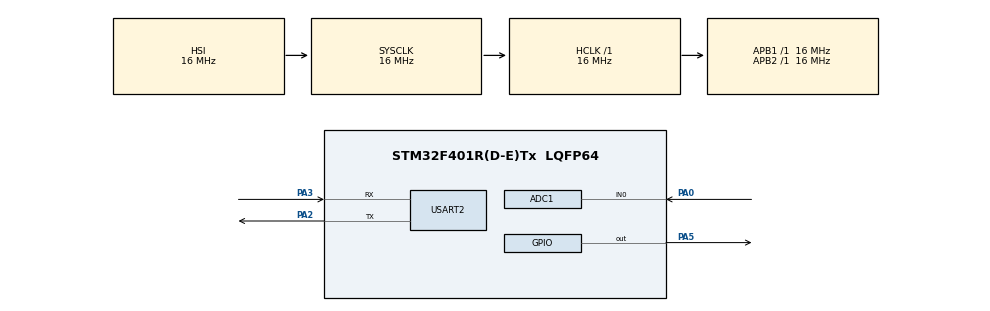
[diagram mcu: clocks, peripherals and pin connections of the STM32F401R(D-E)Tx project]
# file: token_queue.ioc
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ADC1.Channel-0\#ChannelRegularConversion=ADC_CHANNEL_0
ADC1.NbrOfConversionFlag=1
ADC1.Rank-0\#ChannelRegularConversion=1
ADC1.SamplingTime-0\#ChannelRegularConversion=ADC_SAMPLETIME_3CYCLES
ADC1.master=1
Dma.Request0=USART2_TX
Dma.USART2_TX.0.Direction=DMA_MEMORY_TO_PERIPH
Dma.USART2_TX.0.FIFOMode=DMA_FIFOMODE_DISABLE
Dma.USART2_TX.0.Instance=DMA1_Stream6
Dma.USART2_TX.0.MemDataAlignment=DMA_MDATAALIGN_BYTE
Dma.USART2_TX.0.MemInc=DMA_MINC_ENABLE
Dma.USART2_TX.0.Mode=DMA_NORMAL
Dma.USART2_TX.0.PeriphDataAlignment=DMA_PDATAALIGN_BYTE
Dma.USART2_TX.0.PeriphInc=DMA_PINC_DISABLE
Dma.USART2_TX.0.Priority=DMA_PRIORITY_MEDIUM
Mcu.Family=STM32F4
Mcu.Name=STM32F401R(D-E)Tx
Mcu.Package=LQFP64
NVIC.DMA1_Stream6_IRQn=true\:0\:0\:false\:false\:true\:false\:true\:true
NVIC.PriorityGroup=NVIC_PRIORITYGROUP_4
NVIC.TIM2_IRQn=true\:0\:0\:false\:false\:true\:true\:true\:true
NVIC.TIM3_IRQn=true\:0\:0\:false\:false\:true\:true\:true\:true
NVIC.USART2_IRQn=true\:0\:0\:false\:false\:true\:true\:true\:true
PA0-WKUP.Signal=ADCx_IN0
PA2.Mode=Asynchronous
PA2.Signal=USART2_TX
PA3.Mode=Asynchronous
PA3.Signal=USART2_RX
PA5.Signal=GPIO_Output
ProjectManager.HeapSize=0x200
ProjectManager.StackSize=0x400
ProjectManager.TargetToolchain=STM32CubeIDE
RCC.AHBFreq_Value=16000000
RCC.APB1Freq_Value=16000000
RCC.APB2Freq_Value=16000000
RCC.CortexFreq_Value=16000000
RCC.HSE_VALUE=25000000
RCC.HSI_VALUE=16000000
RCC.LSE_VALUE=32768
RCC.SYSCLKFreq_VALUE=16000000
RCC.VCOOutputFreq_Value=192000000
SH.ADCx_IN0.0=ADC1_IN0,IN0
TIM2.Period=999
TIM2.Prescaler=1599
TIM3.Period=9999
TIM3.Prescaler=1599
USART2.VirtualMode=VM_ASYNC
VP_RTC_VS_RTC_Activate.Mode=RTC_Enabled
VP_RTC_VS_RTC_Calendar.Mode=RTC_Calendar
VP_TIM2_VS_ClockSourceINT.Mode=Internal
VP_TIM3_VS_ClockSourceINT.Mode=Internal
board=custom

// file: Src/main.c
/* USER CODE BEGIN Header */
/**
  ******************************************************************************
  * @file           : main.c
  * @brief          : Main program body
  ******************************************************************************
  * @attention
  *
  * <h2><center>&copy; Copyright (c) 2025 STMicroelectronics.
  * All rights reserved.</center></h2>
  *
  * This software component is licensed by ST under BSD 3-Clause license,
  * the "License"; You may not use this file except in compliance with the
  * License. You may obtain a copy of the License at:
  *                        opensource.org/licenses/BSD-3-Clause
  *
  ******************************************************************************
  */
/* USER CODE END Header */

#include "main.h"

/* USER CODE BEGIN Includes */
#include <stdbool.h>
#include "stm32f4xx_hal.h"
#include <string.h>
#include <stdio.h>

/* USER CODE END Includes */

/* USER CODE BEGIN PTD */

//structure for the records communicated via UART
typedef struct {
    RTC_TimeTypeDef start_time;
    RTC_DateTypeDef start_date;
    RTC_TimeTypeDef end_time;
    RTC_DateTypeDef end_date;
    bool valid;
} ActivityLogEntry;

/* USER CODE END PTD */

/* USER CODE BEGIN PD */

#define TOKEN_DURATION 10 //number of TIM2 cycles a token lasts
#define MAX_TOKENS 5 //number of tokens (indicates the beginning of the activity)
#define LOG_DURATION 30 //number of TIM3 cycles before the log is sent via UART
#define LOG_SIZE 50 //number of entries in the log
#define TX_QUEUE_SIZE 50 //number of messages that can be queued for DMA communication
#define TX_BUF_SIZE 256 //length of a message

/* USER CODE END PD */

ADC_HandleTypeDef hadc1;

RTC_HandleTypeDef hrtc;

TIM_HandleTypeDef htim2;
TIM_HandleTypeDef htim3;

UART_HandleTypeDef huart2;
DMA_HandleTypeDef hdma_usart2_tx;

/* USER CODE BEGIN PV */
bool tokens[MAX_TOKENS] = {false}; //token queue
uint16_t token_time[MAX_TOKENS] = {0}; //vector that keeps track of each token's lifespan
uint8_t count = 0; //number of active tokens
bool activity = {false}; //control if the tokens vector is full and the activity is taking place

ActivityLogEntry activity_log[LOG_SIZE]; //activity log
int log_index = 0; //index of the next log entry
uint16_t log_timer = LOG_DURATION; //time since last log communication

bool adc_state = false; //current state of the input (on/off)
bool last_adc_state = false; //previous state of the input (on/off)
uint32_t adc_value = 0; //analog value of the input

//variables for DMA communications via UART
char tx_queue[TX_QUEUE_SIZE][TX_BUF_SIZE]; //message queue
volatile int tx_head = 0; //next message
volatile int tx_tail = 0; //current message
volatile bool tx_busy = false; //control to check if transmission is available
/* USER CODE END PV */

void SystemClock_Config(void);
static void MX_GPIO_Init(void);
static void MX_DMA_Init(void);
static void MX_TIM2_Init(void);
static void MX_RTC_Init(void);
static void MX_ADC1_Init(void);
static void MX_USART2_UART_Init(void);
static void MX_TIM3_Init(void);
/* USER CODE BEGIN PFP */

//function to send one message through UART using DMA
void SendLine_DMA(const char *msg)
{
    int next = (tx_head + 1) % TX_QUEUE_SIZE; //goes circularly through the queue
    //if the queue is full the message is discarded
    if (next == tx_tail)
    {
        return;
    }

    //message is inserted in the queue
    snprintf(tx_queue[tx_head], TX_BUF_SIZE, "%s", msg);
    tx_head = next;

    //if transmission is available send next message using DMA, otherwise wait for interrupt
    if (!tx_busy)
    {
        tx_busy = true;

        HAL_UART_Transmit_DMA(&huart2,
                              (uint8_t*)tx_queue[tx_tail],
                              strlen(tx_queue[tx_tail]));
    }

    return;
}

//function for token generation
void enqueue_token(void)
{
	//if the queue has room insert a token and update count
	if (count < MAX_TOKENS)
	{
		tokens[count] = true;
		count++;

		//if the queue is now full and activity isn't taking place start activity and create new log entry
		if (count == MAX_TOKENS && activity == false)
		{
			activity = true;

			HAL_RTC_GetTime(&hrtc, &activity_log[log_index].start_time, RTC_FORMAT_BIN);
			HAL_RTC_GetDate(&hrtc, &activity_log[log_index].start_date, RTC_FORMAT_BIN);

		}
	}

	//regardless of queue state every token lifespan is resetted to reflect activity duration
	for (int i = 0; i < MAX_TOKENS; i++)
		{
			if(tokens[i] == true)
				token_time[i] = TOKEN_DURATION;
		}
}

//function for ADC reading
uint32_t Read_ADC()
{
    HAL_ADC_Start(&hadc1);
    HAL_ADC_PollForConversion(&hadc1, HAL_MAX_DELAY);
    uint32_t value = HAL_ADC_GetValue(&hadc1);
    HAL_ADC_Stop(&hadc1);
    return value;
}

//the Real Time Clock in the STM32F401 board doesn't keep track of time if the board isn't powered
//so it needs to be initialized at the start of every execution
void SyncRTCFromPC(void)
{
	//request for time synchronization
	char msg[] = "time_sync \n";

	//since the communication is brief and the execution can't start before the RTC is initialized
	//blocking communication is used instead of non-blocking communication using DMA
	if (HAL_UART_Transmit(&huart2, (uint8_t*)msg, strlen(msg), 1000) != HAL_OK)
	{
	    Error_Handler();
	}

	//the received date and time is first saved in a buffer
	char buf[32];
	uint8_t idx = 0;
	char c;
	while(1)
	{
		HAL_UART_Receive(&huart2,(uint8_t*)&c,1,HAL_MAX_DELAY);
		if(c == '\n') break;
		buf[idx++] = c;
		if(idx >= sizeof(buf)-1) break;
	}
	buf[idx] = '\0';

	//after communication is complete the buffer is used to initialize the RTC
	int y,m,d,h,min,s;
    if(sscanf(buf,"%d %d %d %d %d %d",&y,&m,&d,&h,&min,&s) == 6)
    {
        RTC_TimeTypeDef sTime = {0};
        RTC_DateTypeDef sDate = {0};

        sTime.Hours = h;
        sTime.Minutes = min;
        sTime.Seconds = s;
        sTime.DayLightSaving = RTC_DAYLIGHTSAVING_NONE;
        sTime.StoreOperation = RTC_STOREOPERATION_RESET;
        HAL_RTC_SetTime(&hrtc, &sTime, RTC_FORMAT_BIN);

        sDate.Year = y % 100;
        sDate.Month = m;
        sDate.Date = d;
        sDate.WeekDay = RTC_WEEKDAY_TUESDAY;
        HAL_RTC_SetDate(&hrtc, &sDate, RTC_FORMAT_BIN);
    }
}

//function for log communication
void SendFullActivityLog(void)
{
	//request for log communication
	char msg[] = "log_start \n";

	//since the handshake protocol is brief blocking communication is used
	HAL_UART_Transmit(&huart2,(uint8_t*)msg,strlen(msg),HAL_MAX_DELAY);

    int idx = 0;
    char syncbuf[32] = {0};

    while(idx < sizeof(syncbuf) - 1)
    {
    	uint8_t c;
    	HAL_UART_Receive(&huart2, &c, 1, HAL_MAX_DELAY);
    	syncbuf[idx++] = c;
    	if (c == '\n') break;
    }

    syncbuf[idx] = '\0';

    //if an ACK isn't received the communication is aborted
    if (strncmp(syncbuf, "ready", 5) != 0)
    {
    	char msg[] = "log_abort \n";
    	HAL_UART_Transmit(&huart2,(uint8_t*)msg,strlen(msg),HAL_MAX_DELAY);

    	return;
    }

    char buf[128];

    //each log entry is formatted for for the txt doc format
    for(int i = 0; i < LOG_SIZE; i++)
    {
        if(activity_log[i].valid)
        {
            RTC_DateTypeDef sd = activity_log[i].start_date;
            RTC_TimeTypeDef st = activity_log[i].start_time;
            RTC_DateTypeDef ed = activity_log[i].end_date;
            RTC_TimeTypeDef et = activity_log[i].end_time;

            snprintf(buf, sizeof(buf),
                "%d) start: %02d-%02d-%04d %02d:%02d:%02d    end: %02d-%02d-%04d %02d:%02d:%02d\n",
				i + 1,
                sd.Date, sd.Month, 2000 + sd.Year,
                st.Hours, st.Minutes, st.Seconds,
                ed.Date, ed.Month, 2000 + ed.Year,
                et.Hours, et.Minutes, et.Seconds
            );

            //all the log entries are added to the message queue and sent using DMA
            SendLine_DMA(buf);
        }
    }

    //end of communication
    SendLine_DMA("log_end\n");
}

/* USER CODE END PFP */

int main(void)
{

  /* MCU Configuration--------------------------------------------------------*/

  /* Reset of all peripherals, Initializes the Flash interface and the Systick. */
  HAL_Init();

  /* Configure the system clock */
  SystemClock_Config();

  /* Initialize all configured peripherals */
  MX_GPIO_Init();
  MX_DMA_Init();
  MX_TIM2_Init();
  MX_RTC_Init();
  MX_ADC1_Init();
  MX_USART2_UART_Init();
  MX_TIM3_Init();
  /* USER CODE BEGIN 2 */

  //starts the timers
  HAL_TIM_Base_Start_IT(&htim2);
  HAL_TIM_Base_Start_IT(&htim3);

  //Real Time Clock initialization
  SyncRTCFromPC();

    /* USER CODE END 2 */

  /* Infinite loop */
  /* USER CODE BEGIN WHILE */
  while (1)
  {
	//the board keeps doing ADC readings and converting them into on/off values
	adc_value = Read_ADC();
	adc_state = (adc_value > 2000);

	//if the input goes from 0 to 1 a new token is generated
	if (!last_adc_state && adc_state)
			{
		enqueue_token();
			}

	last_adc_state = adc_state;
    /* USER CODE END WHILE */

  }
}

void SystemClock_Config(void)
{
  RCC_OscInitTypeDef RCC_OscInitStruct = {0};
  RCC_ClkInitTypeDef RCC_ClkInitStruct = {0};
  RCC_PeriphCLKInitTypeDef PeriphClkInitStruct = {0};

  /** Configure the main internal regulator output voltage
  */
  __HAL_RCC_PWR_CLK_ENABLE();
  __HAL_PWR_VOLTAGESCALING_CONFIG(PWR_REGULATOR_VOLTAGE_SCALE2);
  /** Initializes the CPU, AHB and APB busses clocks
  */
  RCC_OscInitStruct.OscillatorType = RCC_OSCILLATORTYPE_HSI|RCC_OSCILLATORTYPE_LSI;
  RCC_OscInitStruct.HSIState = RCC_HSI_ON;
  RCC_OscInitStruct.HSICalibrationValue = RCC_HSICALIBRATION_DEFAULT;
  RCC_OscInitStruct.LSIState = RCC_LSI_ON;
  RCC_OscInitStruct.PLL.PLLState = RCC_PLL_NONE;
  if (HAL_RCC_OscConfig(&RCC_OscInitStruct) != HAL_OK)
  {
    Error_Handler();
  }
  /** Initializes the CPU, AHB and APB busses clocks
  */
  RCC_ClkInitStruct.ClockType = RCC_CLOCKTYPE_HCLK|RCC_CLOCKTYPE_SYSCLK
                              |RCC_CLOCKTYPE_PCLK1|RCC_CLOCKTYPE_PCLK2;
  RCC_ClkInitStruct.SYSCLKSource = RCC_SYSCLKSOURCE_HSI;
  RCC_ClkInitStruct.AHBCLKDivider = RCC_SYSCLK_DIV1;
  RCC_ClkInitStruct.APB1CLKDivider = RCC_HCLK_DIV1;
  RCC_ClkInitStruct.APB2CLKDivider = RCC_HCLK_DIV1;

  if (HAL_RCC_ClockConfig(&RCC_ClkInitStruct, FLASH_LATENCY_0) != HAL_OK)
  {
    Error_Handler();
  }
  PeriphClkInitStruct.PeriphClockSelection = RCC_PERIPHCLK_RTC;
  PeriphClkInitStruct.RTCClockSelection = RCC_RTCCLKSOURCE_LSI;
  if (HAL_RCCEx_PeriphCLKConfig(&PeriphClkInitStruct) != HAL_OK)
  {
    Error_Handler();
  }
}

static void MX_ADC1_Init(void)
{

  ADC_ChannelConfTypeDef sConfig = {0};

  /** Configure the global features of the ADC (Clock, Resolution, Data Alignment and number of conversion)
  */
  hadc1.Instance = ADC1;
  hadc1.Init.ClockPrescaler = ADC_CLOCK_SYNC_PCLK_DIV2;
  hadc1.Init.Resolution = ADC_RESOLUTION_12B;
  hadc1.Init.ScanConvMode = DISABLE;
  hadc1.Init.ContinuousConvMode = DISABLE;
  hadc1.Init.DiscontinuousConvMode = DISABLE;
  hadc1.Init.ExternalTrigConvEdge = ADC_EXTERNALTRIGCONVEDGE_NONE;
  hadc1.Init.ExternalTrigConv = ADC_SOFTWARE_START;
  hadc1.Init.DataAlign = ADC_DATAALIGN_RIGHT;
  hadc1.Init.NbrOfConversion = 1;
  hadc1.Init.DMAContinuousRequests = DISABLE;
  hadc1.Init.EOCSelection = ADC_EOC_SINGLE_CONV;
  if (HAL_ADC_Init(&hadc1) != HAL_OK)
  {
    Error_Handler();
  }
  /** Configure for the selected ADC regular channel its corresponding rank in the sequencer and its sample time.
  */
  sConfig.Channel = ADC_CHANNEL_0;
  sConfig.Rank = 1;
  sConfig.SamplingTime = ADC_SAMPLETIME_3CYCLES;
  if (HAL_ADC_ConfigChannel(&hadc1, &sConfig) != HAL_OK)
  {
    Error_Handler();
  }

}

static void MX_RTC_Init(void)
{

  RTC_TimeTypeDef sTime = {0};
  RTC_DateTypeDef sDate = {0};

  /** Initialize RTC Only
  */
  hrtc.Instance = RTC;
  hrtc.Init.HourFormat = RTC_HOURFORMAT_24;
  hrtc.Init.AsynchPrediv = 127;
  hrtc.Init.SynchPrediv = 255;
  hrtc.Init.OutPut = RTC_OUTPUT_DISABLE;
  hrtc.Init.OutPutPolarity = RTC_OUTPUT_POLARITY_HIGH;
  hrtc.Init.OutPutType = RTC_OUTPUT_TYPE_OPENDRAIN;
  if (HAL_RTC_Init(&hrtc) != HAL_OK)
  {
    Error_Handler();
  }

  /** Initialize RTC and set the Time and Date
  */
  sTime.Hours = 0x0;
  sTime.Minutes = 0x0;
  sTime.Seconds = 0x0;
  sTime.DayLightSaving = RTC_DAYLIGHTSAVING_NONE;
  sTime.StoreOperation = RTC_STOREOPERATION_RESET;
  if (HAL_RTC_SetTime(&hrtc, &sTime, RTC_FORMAT_BCD) != HAL_OK)
  {
    Error_Handler();
  }
  sDate.WeekDay = RTC_WEEKDAY_MONDAY;
  sDate.Month = RTC_MONTH_JANUARY;
  sDate.Date = 0x1;
  sDate.Year = 0x0;

  if (HAL_RTC_SetDate(&hrtc, &sDate, RTC_FORMAT_BCD) != HAL_OK)
  {
    Error_Handler();
  }

}

static void MX_TIM2_Init(void)
{

  TIM_ClockConfigTypeDef sClockSourceConfig = {0};
  TIM_MasterConfigTypeDef sMasterConfig = {0};

  htim2.Instance = TIM2;
  htim2.Init.Prescaler = 1599;
  htim2.Init.CounterMode = TIM_COUNTERMODE_UP;
  htim2.Init.Period = 999;
  htim2.Init.ClockDivision = TIM_CLOCKDIVISION_DIV1;
  htim2.Init.AutoReloadPreload = TIM_AUTORELOAD_PRELOAD_DISABLE;
  if (HAL_TIM_Base_Init(&htim2) != HAL_OK)
  {
    Error_Handler();
  }
  sClockSourceConfig.ClockSource = TIM_CLOCKSOURCE_INTERNAL;
  if (HAL_TIM_ConfigClockSource(&htim2, &sClockSourceConfig) != HAL_OK)
  {
    Error_Handler();
  }
  sMasterConfig.MasterOutputTrigger = TIM_TRGO_RESET;
  sMasterConfig.MasterSlaveMode = TIM_MASTERSLAVEMODE_DISABLE;
  if (HAL_TIMEx_MasterConfigSynchronization(&htim2, &sMasterConfig) != HAL_OK)
  {
    Error_Handler();
  }

}

static void MX_TIM3_Init(void)
{

  TIM_ClockConfigTypeDef sClockSourceConfig = {0};
  TIM_MasterConfigTypeDef sMasterConfig = {0};

  htim3.Instance = TIM3;
  htim3.Init.Prescaler = 1599;
  htim3.Init.CounterMode = TIM_COUNTERMODE_UP;
  htim3.Init.Period = 9999;
  htim3.Init.ClockDivision = TIM_CLOCKDIVISION_DIV1;
  htim3.Init.AutoReloadPreload = TIM_AUTORELOAD_PRELOAD_DISABLE;
  if (HAL_TIM_Base_Init(&htim3) != HAL_OK)
  {
    Error_Handler();
  }
  sClockSourceConfig.ClockSource = TIM_CLOCKSOURCE_INTERNAL;
  if (HAL_TIM_ConfigClockSource(&htim3, &sClockSourceConfig) != HAL_OK)
  {
    Error_Handler();
  }
  sMasterConfig.MasterOutputTrigger = TIM_TRGO_RESET;
  sMasterConfig.MasterSlaveMode = TIM_MASTERSLAVEMODE_DISABLE;
  if (HAL_TIMEx_MasterConfigSynchronization(&htim3, &sMasterConfig) != HAL_OK)
  {
    Error_Handler();
  }

}

static void MX_USART2_UART_Init(void)
{

  huart2.Instance = USART2;
  huart2.Init.BaudRate = 115200;
  huart2.Init.WordLength = UART_WORDLENGTH_8B;
  huart2.Init.StopBits = UART_STOPBITS_1;
  huart2.Init.Parity = UART_PARITY_NONE;
  huart2.Init.Mode = UART_MODE_TX_RX;
  huart2.Init.HwFlowCtl = UART_HWCONTROL_NONE;
  huart2.Init.OverSampling = UART_OVERSAMPLING_16;
  if (HAL_UART_Init(&huart2) != HAL_OK)
  {
    Error_Handler();
  }
  /* USER CODE BEGIN USART2_Init 2 */

  //for either an IDE bug or some configuration error the IDE wasn't automatically generating
  //the code to enable UART interrupts, so I added it manually
  //similarly in the stm32f4xx_it.c file I had to add the USART2_IRQHandler function manually
  HAL_NVIC_SetPriority(USART2_IRQn, 0, 0);
  HAL_NVIC_EnableIRQ(USART2_IRQn);
  /* USER CODE END USART2_Init 2 */

}

static void MX_DMA_Init(void)
{
  /* DMA controller clock enable */
  __HAL_RCC_DMA1_CLK_ENABLE();

  /* DMA interrupt init */
  /* DMA1_Stream6_IRQn interrupt configuration */
  HAL_NVIC_SetPriority(DMA1_Stream6_IRQn, 0, 0);
  HAL_NVIC_EnableIRQ(DMA1_Stream6_IRQn);

}

static void MX_GPIO_Init(void)
{
  GPIO_InitTypeDef GPIO_InitStruct = {0};

  /* GPIO Ports Clock Enable */
  __HAL_RCC_GPIOA_CLK_ENABLE();

  /*Configure GPIO pin Output Level */
  HAL_GPIO_WritePin(GPIOA, GPIO_PIN_5, GPIO_PIN_RESET);

  /*Configure GPIO pin : PA5 */
  GPIO_InitStruct.Pin = GPIO_PIN_5;
  GPIO_InitStruct.Mode = GPIO_MODE_OUTPUT_PP;
  GPIO_InitStruct.Pull = GPIO_NOPULL;
  GPIO_InitStruct.Speed = GPIO_SPEED_FREQ_LOW;
  HAL_GPIO_Init(GPIOA, &GPIO_InitStruct);

}

/* USER CODE BEGIN 4 */
//function that gets called whenever a timer generates an interrupt
void HAL_TIM_PeriodElapsedCallback(TIM_HandleTypeDef *htim)
{
	//if timer 2 generated the interrupt the board decrease the last tokens lifespan
	if (htim->Instance == TIM2)
	{

		int idx = count - 1;
		if (idx < 0) return;
		if (token_time[idx] > 0)
		{
			token_time[idx]--;

			//if the lifespan reaches 0 the token is removed
			if (token_time[idx] == 0)
			{
				tokens[idx] = false;
				if (count > 0) count--;

				//if the last token is removed and activity is taking place the activity ends
				//and time and date are stored in the log
				if (count == 0 && activity == true)
				{
					activity = false;

					HAL_RTC_GetTime(&hrtc, &activity_log[log_index].end_time, RTC_FORMAT_BIN);
					HAL_RTC_GetDate(&hrtc, &activity_log[log_index].end_date, RTC_FORMAT_BIN);

					activity_log[log_index].valid = true;
					log_index = (log_index + 1) % LOG_SIZE;

				}
			}
		}
	}

	//if timer 3 generated the interrupt the time until next communication is ticked down
	//then if it reaches 0 the log is sent via UART
	if(htim->Instance == TIM3)
	    {
	        log_timer--;

	        if(log_timer == 0)
	        {
	            log_timer = LOG_DURATION;
	            SendFullActivityLog();
	        }
	    }
}

//function that gets called whenever the UART generates an interrupt
void HAL_UART_TxCpltCallback(UART_HandleTypeDef *huart)
{
    if (huart->Instance == USART2)
    {
        //goes to the next message
    	tx_tail = (tx_tail + 1) % TX_QUEUE_SIZE;

    	//if there is a next message it is sent using DMA
        if (tx_tail != tx_head)
        {
            HAL_UART_Transmit_DMA(&huart2,
                                  (uint8_t*)tx_queue[tx_tail],
                                  strlen(tx_queue[tx_tail]));
        }
        //if not transmission is now available
        else
        {
            tx_busy = false;
        }
    }
}

/* USER CODE END 4 */

void Error_Handler(void)
{
}

/************************ (C) COPYRIGHT STMicroelectronics *****END OF FILE****/
